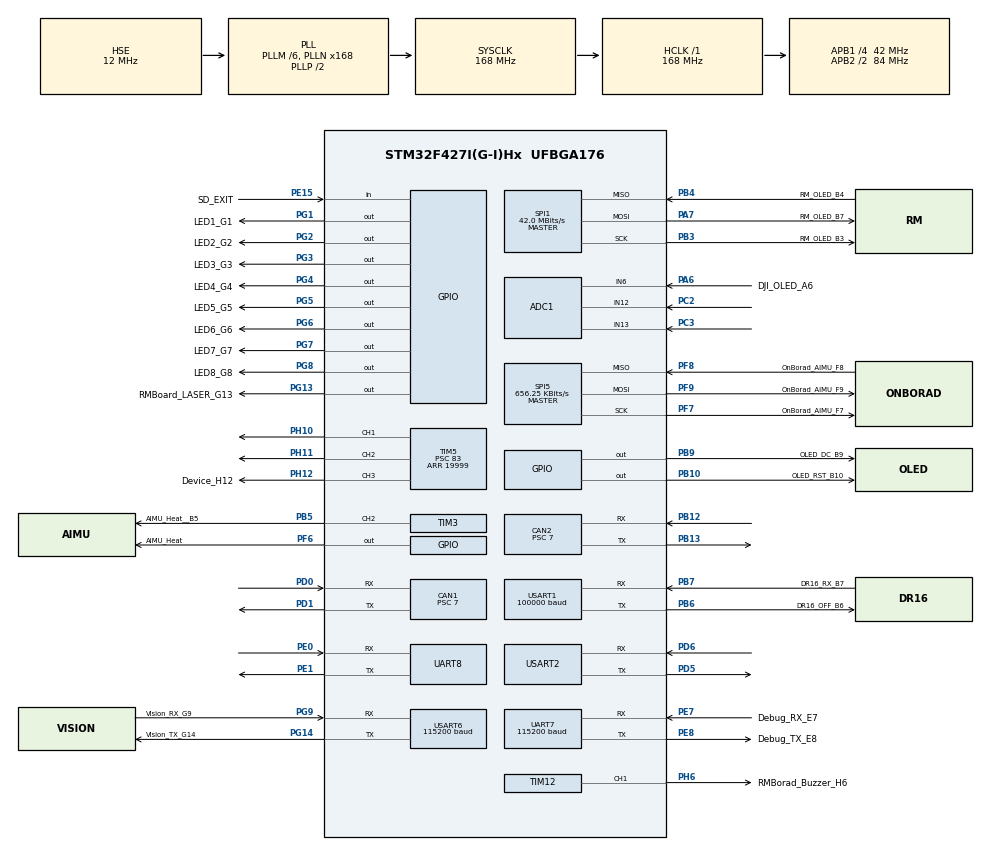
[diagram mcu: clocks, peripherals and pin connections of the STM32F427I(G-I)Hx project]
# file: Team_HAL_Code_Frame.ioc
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ADC1.Channel-0\#ChannelRegularConversion=ADC_CHANNEL_VREFINT
ADC1.Channel-1\#ChannelRegularConversion=ADC_CHANNEL_12
ADC1.Channel-2\#ChannelRegularConversion=ADC_CHANNEL_13
ADC1.ClockPrescaler=ADC_CLOCK_SYNC_PCLK_DIV4
ADC1.ContinuousConvMode=ENABLE
ADC1.DMAContinuousRequests=ENABLE
ADC1.NbrOfConversion=3
ADC1.NbrOfConversionFlag=1
ADC1.Rank-0\#ChannelRegularConversion=1
ADC1.Rank-1\#ChannelRegularConversion=2
ADC1.Rank-2\#ChannelRegularConversion=3
ADC1.SamplingTime-0\#ChannelRegularConversion=ADC_SAMPLETIME_3CYCLES
ADC1.SamplingTime-1\#ChannelRegularConversion=ADC_SAMPLETIME_3CYCLES
ADC1.SamplingTime-2\#ChannelRegularConversion=ADC_SAMPLETIME_3CYCLES
ADC1.ScanConvMode=ENABLE
ADC1.master=1
CAN1.ABOM=ENABLE
CAN1.AWUM=ENABLE
CAN1.BS1=CAN_BS1_3TQ
CAN1.BS2=CAN_BS2_2TQ
CAN1.CalculateBaudRate=999999
CAN1.CalculateTimeBit=1000
CAN1.CalculateTimeQuantum=166.66666666666669
CAN1.NART=ENABLE
CAN1.Prescaler=7
CAN1.TXFP=ENABLE
CAN2.ABOM=ENABLE
CAN2.AWUM=ENABLE
CAN2.BS1=CAN_BS1_3TQ
CAN2.BS2=CAN_BS2_2TQ
CAN2.CalculateBaudRate=999999
CAN2.CalculateTimeBit=1000
CAN2.CalculateTimeQuantum=166.66666666666669
CAN2.NART=ENABLE
CAN2.Prescaler=7
CAN2.TXFP=ENABLE
Dma.ADC1.4.Direction=DMA_PERIPH_TO_MEMORY
Dma.ADC1.4.FIFOMode=DMA_FIFOMODE_DISABLE
Dma.ADC1.4.Instance=DMA2_Stream0
Dma.ADC1.4.MemDataAlignment=DMA_MDATAALIGN_HALFWORD
Dma.ADC1.4.MemInc=DMA_MINC_ENABLE
Dma.ADC1.4.Mode=DMA_CIRCULAR
Dma.ADC1.4.PeriphDataAlignment=DMA_PDATAALIGN_HALFWORD
Dma.ADC1.4.PeriphInc=DMA_PINC_DISABLE
Dma.ADC1.4.Priority=DMA_PRIORITY_LOW
Dma.Request0=USART1_RX
Dma.Request1=USART6_RX
Dma.Request2=USART6_TX
Dma.Request3=UART7_RX
Dma.Request4=ADC1
Dma.Request5=UART8_RX
Dma.Request6=UART8_TX
Dma.Request7=UART7_TX
Dma.Request8=USART2_RX
Dma.UART7_RX.3.Direction=DMA_PERIPH_TO_MEMORY
Dma.UART7_RX.3.FIFOMode=DMA_FIFOMODE_DISABLE
Dma.UART7_RX.3.Instance=DMA1_Stream3
Dma.UART7_RX.3.MemDataAlignment=DMA_MDATAALIGN_BYTE
Dma.UART7_RX.3.MemInc=DMA_MINC_ENABLE
Dma.UART7_RX.3.Mode=DMA_NORMAL
Dma.UART7_RX.3.PeriphDataAlignment=DMA_PDATAALIGN_BYTE
Dma.UART7_RX.3.PeriphInc=DMA_PINC_DISABLE
Dma.UART7_RX.3.Priority=DMA_PRIORITY_LOW
Dma.UART7_TX.7.Direction=DMA_MEMORY_TO_PERIPH
Dma.UART7_TX.7.FIFOMode=DMA_FIFOMODE_DISABLE
Dma.UART7_TX.7.Instance=DMA1_Stream1
Dma.UART7_TX.7.MemDataAlignment=DMA_MDATAALIGN_BYTE
Dma.UART7_TX.7.MemInc=DMA_MINC_ENABLE
Dma.UART7_TX.7.Mode=DMA_NORMAL
Dma.UART7_TX.7.PeriphDataAlignment=DMA_PDATAALIGN_BYTE
Dma.UART7_TX.7.PeriphInc=DMA_PINC_DISABLE
Dma.UART7_TX.7.Priority=DMA_PRIORITY_LOW
Dma.UART8_RX.5.Direction=DMA_PERIPH_TO_MEMORY
Dma.UART8_RX.5.FIFOMode=DMA_FIFOMODE_DISABLE
Dma.UART8_RX.5.Instance=DMA1_Stream6
Dma.UART8_RX.5.MemDataAlignment=DMA_MDATAALIGN_BYTE
Dma.UART8_RX.5.MemInc=DMA_MINC_ENABLE
Dma.UART8_RX.5.Mode=DMA_NORMAL
Dma.UART8_RX.5.PeriphDataAlignment=DMA_PDATAALIGN_BYTE
Dma.UART8_RX.5.PeriphInc=DMA_PINC_DISABLE
Dma.UART8_RX.5.Priority=DMA_PRIORITY_LOW
Dma.UART8_TX.6.Direction=DMA_MEMORY_TO_PERIPH
Dma.UART8_TX.6.FIFOMode=DMA_FIFOMODE_DISABLE
Dma.UART8_TX.6.Instance=DMA1_Stream0
Dma.UART8_TX.6.MemDataAlignment=DMA_MDATAALIGN_BYTE
Dma.UART8_TX.6.MemInc=DMA_MINC_ENABLE
Dma.UART8_TX.6.Mode=DMA_NORMAL
Dma.UART8_TX.6.PeriphDataAlignment=DMA_PDATAALIGN_BYTE
Dma.UART8_TX.6.PeriphInc=DMA_PINC_DISABLE
Dma.UART8_TX.6.Priority=DMA_PRIORITY_LOW
Dma.USART1_RX.0.Direction=DMA_PERIPH_TO_MEMORY
Dma.USART1_RX.0.FIFOMode=DMA_FIFOMODE_DISABLE
Dma.USART1_RX.0.Instance=DMA2_Stream5
Dma.USART1_RX.0.MemDataAlignment=DMA_MDATAALIGN_BYTE
Dma.USART1_RX.0.MemInc=DMA_MINC_ENABLE
Dma.USART1_RX.0.Mode=DMA_CIRCULAR
Dma.USART1_RX.0.PeriphDataAlignment=DMA_PDATAALIGN_BYTE
Dma.USART1_RX.0.PeriphInc=DMA_PINC_DISABLE
Dma.USART1_RX.0.Priority=DMA_PRIORITY_LOW
Dma.USART2_RX.8.Direction=DMA_PERIPH_TO_MEMORY
Dma.USART2_RX.8.FIFOMode=DMA_FIFOMODE_DISABLE
Dma.USART2_RX.8.Instance=DMA1_Stream5
Dma.USART2_RX.8.MemDataAlignment=DMA_MDATAALIGN_BYTE
Dma.USART2_RX.8.MemInc=DMA_MINC_ENABLE
Dma.USART2_RX.8.Mode=DMA_NORMAL
Dma.USART2_RX.8.PeriphDataAlignment=DMA_PDATAALIGN_BYTE
Dma.USART2_RX.8.PeriphInc=DMA_PINC_DISABLE
Dma.USART2_RX.8.Priority=DMA_PRIORITY_LOW
Dma.USART6_RX.1.Direction=DMA_PERIPH_TO_MEMORY
Dma.USART6_RX.1.FIFOMode=DMA_FIFOMODE_DISABLE
Dma.USART6_RX.1.Instance=DMA2_Stream1
Dma.USART6_RX.1.MemDataAlignment=DMA_MDATAALIGN_BYTE
Dma.USART6_RX.1.MemInc=DMA_MINC_ENABLE
Dma.USART6_RX.1.Mode=DMA_CIRCULAR
Dma.USART6_RX.1.PeriphDataAlignment=DMA_PDATAALIGN_BYTE
Dma.USART6_RX.1.PeriphInc=DMA_PINC_DISABLE
Dma.USART6_RX.1.Priority=DMA_PRIORITY_LOW
Dma.USART6_TX.2.Direction=DMA_MEMORY_TO_PERIPH
Dma.USART6_TX.2.FIFOMode=DMA_FIFOMODE_DISABLE
Dma.USART6_TX.2.Instance=DMA2_Stream6
Dma.USART6_TX.2.MemDataAlignment=DMA_MDATAALIGN_BYTE
Dma.USART6_TX.2.MemInc=DMA_MINC_ENABLE
Dma.USART6_TX.2.Mode=DMA_NORMAL
Dma.USART6_TX.2.PeriphDataAlignment=DMA_PDATAALIGN_BYTE
Dma.USART6_TX.2.PeriphInc=DMA_PINC_DISABLE
Dma.USART6_TX.2.Priority=DMA_PRIORITY_LOW
FREERTOS.INCLUDE_vTaskDelayUntil=1
FREERTOS.Tasks01=Activate_Task,0,128,User_SystemInit_Task,Default,NULL,Dynamic,NULL,NULL
IWDG.Prescaler=IWDG_PRESCALER_8
Mcu.Family=STM32F4
Mcu.Name=STM32F427I(G-I)Hx
Mcu.Package=UFBGA176
NVIC.CAN1_RX0_IRQn=true\:6\:0\:true\:false\:true\:false\:true\:true\:true
NVIC.CAN2_RX0_IRQn=true\:6\:0\:true\:false\:true\:false\:true\:true\:true
NVIC.DMA1_Stream0_IRQn=true\:5\:0\:false\:false\:true\:true\:false\:true\:true
NVIC.DMA1_Stream1_IRQn=true\:5\:0\:false\:false\:true\:true\:false\:true\:true
NVIC.DMA1_Stream3_IRQn=true\:5\:0\:false\:false\:true\:true\:false\:true\:true
NVIC.DMA1_Stream5_IRQn=true\:5\:0\:false\:false\:true\:true\:false\:true\:true
NVIC.DMA1_Stream6_IRQn=true\:5\:0\:false\:false\:true\:true\:false\:true\:true
NVIC.DMA2_Stream0_IRQn=true\:5\:0\:false\:false\:true\:true\:false\:true\:true
NVIC.DMA2_Stream1_IRQn=true\:5\:0\:false\:false\:true\:true\:false\:true\:true
NVIC.DMA2_Stream5_IRQn=true\:5\:0\:false\:false\:true\:false\:false\:true\:true
NVIC.DMA2_Stream6_IRQn=true\:5\:0\:false\:false\:true\:true\:false\:true\:true
NVIC.PriorityGroup=NVIC_PRIORITYGROUP_4
NVIC.TIM2_IRQn=true\:5\:0\:false\:false\:true\:true\:true\:true\:true
NVIC.TIM4_IRQn=true\:5\:0\:false\:false\:true\:true\:true\:true\:true
NVIC.TIM6_DAC_IRQn=true\:0\:0\:true\:false\:true\:false\:false\:true\:true
NVIC.TimeBase=TIM6_DAC_IRQn
NVIC.TimeBaseIP=TIM6
NVIC.UART7_IRQn=true\:5\:0\:false\:false\:true\:true\:true\:true\:true
NVIC.UART8_IRQn=true\:5\:0\:false\:false\:true\:true\:true\:true\:true
NVIC.USART1_IRQn=true\:5\:0\:false\:false\:true\:false\:true\:true\:true
NVIC.USART6_IRQn=true\:5\:0\:false\:false\:true\:true\:true\:true\:true
PA13.Mode=Serial_Wire
PA13.Signal=SYS_JTMS-SWDIO
PA14.Mode=Serial_Wire
PA14.Signal=SYS_JTCK-SWCLK
PA6.GPIO_Label=DJI_OLED_A6
PA6.Signal=ADCx_IN6
PA7.GPIO_Label=RM_OLED_B7
PA7.Mode=Full_Duplex_Master
PA7.Signal=SPI1_MOSI
PB10.GPIO_Label=OLED_RST_B10
PB10.Signal=GPIO_Output
PB12.Mode=CAN_Activate
PB12.Signal=CAN2_RX
PB13.Mode=CAN_Activate
PB13.Signal=CAN2_TX
PB3.GPIO_Label=RM_OLED_B3
PB3.Mode=Full_Duplex_Master
PB3.Signal=SPI1_SCK
PB4.GPIO_Label=RM_OLED_B4
PB4.Mode=Full_Duplex_Master
PB4.Signal=SPI1_MISO
PB5.GPIO_Label=AIMU_Heat__B5
PB5.Signal=S_TIM3_CH2
PB6.GPIO_Label=DR16_OFF_B6
PB6.GPIO_PuPd=GPIO_NOPULL
PB6.Mode=Asynchronous
PB6.Signal=USART1_TX
PB7.GPIO_Label=DR16_RX_B7
PB7.GPIO_PuPd=GPIO_NOPULL
PB7.Mode=Asynchronous
PB7.Signal=USART1_RX
PB9.GPIO_Label=OLED_DC_B9
PB9.Signal=GPIO_Output
PC2.Signal=ADCx_IN12
PC3.Signal=ADCx_IN13
PD0.Mode=CAN_Activate
PD0.Signal=CAN1_RX
PD1.Mode=CAN_Activate
PD1.Signal=CAN1_TX
PD5.Mode=Asynchronous
PD5.Signal=USART2_TX
PD6.Mode=Asynchronous
PD6.Signal=USART2_RX
PD8.GPIO_Label=RM_Referee_TX_D8
PD8.Signal=USART3_TX
PD9.GPIO_Label=RM_Referee_RX_D9
PD9.Signal=USART3_RX
PE0.Mode=Asynchronous
PE0.Signal=UART8_RX
PE1.Mode=Asynchronous
PE1.Signal=UART8_TX
PE15.GPIO_Label=SD_EXIT
PE15.GPIO_PuPd=GPIO_NOPULL
PE15.Signal=GPIO_Input
PE7.GPIO_Label=Debug_RX_E7
PE7.Mode=Asynchronous
PE7.Signal=UART7_RX
PE8.GPIO_Label=Debug_TX_E8
PE8.Mode=Asynchronous
PE8.Signal=UART7_TX
PF6.GPIO_Label=AIMU_Heat
PF6.PinState=GPIO_PIN_SET
PF6.Signal=GPIO_Output
PF7.GPIO_Label=OnBorad_AIMU_F7
PF7.Mode=Full_Duplex_Master
PF7.Signal=SPI5_SCK
PF8.GPIO_Label=OnBorad_AIMU_F8
PF8.Mode=Full_Duplex_Master
PF8.Signal=SPI5_MISO
PF9.GPIO_Label=OnBorad_AIMU_F9
PF9.Mode=Full_Duplex_Master
PF9.Signal=SPI5_MOSI
PG1.GPIO_Label=LED1_G1
PG1.GPIO_PuPd=GPIO_PULLUP
PG1.PinState=GPIO_PIN_SET
PG1.Signal=GPIO_Output
PG13.GPIO_Label=RMBoard_LASER_G13
PG13.Signal=GPIO_Output
PG14.GPIO_Label=Vision_TX_G14
PG14.Mode=Asynchronous
PG14.Signal=USART6_TX
PG2.GPIO_Label=LED2_G2
PG2.GPIO_PuPd=GPIO_PULLUP
PG2.PinState=GPIO_PIN_SET
PG2.Signal=GPIO_Output
PG3.GPIO_Label=LED3_G3
PG3.GPIO_PuPd=GPIO_PULLUP
PG3.PinState=GPIO_PIN_SET
PG3.Signal=GPIO_Output
PG4.GPIO_Label=LED4_G4
PG4.GPIO_PuPd=GPIO_PULLUP
PG4.PinState=GPIO_PIN_SET
PG4.Signal=GPIO_Output
PG5.GPIO_Label=LED5_G5
PG5.GPIO_PuPd=GPIO_PULLUP
PG5.PinState=GPIO_PIN_SET
PG5.Signal=GPIO_Output
PG6.GPIO_Label=LED6_G6
PG6.GPIO_PuPd=GPIO_PULLUP
PG6.PinState=GPIO_PIN_SET
PG6.Signal=GPIO_Output
PG7.GPIO_Label=LED7_G7
PG7.GPIO_PuPd=GPIO_PULLUP
PG7.PinState=GPIO_PIN_SET
PG7.Signal=GPIO_Output
PG8.GPIO_Label=LED8_G8
PG8.GPIO_PuPd=GPIO_PULLUP
PG8.PinState=GPIO_PIN_SET
PG8.Signal=GPIO_Output
PG9.GPIO_Label=Vision_RX_G9
PG9.Mode=Asynchronous
PG9.Signal=USART6_RX
PH0/OSC_IN.Mode=HSE-External-Oscillator
PH0/OSC_IN.Signal=RCC_OSC_IN
PH1/OSC_OUT.Mode=HSE-External-Oscillator
PH1/OSC_OUT.Signal=RCC_OSC_OUT
PH10.Signal=S_TIM5_CH1
PH11.Signal=S_TIM5_CH2
PH12.GPIO_Label=Device_H12
PH12.Signal=S_TIM5_CH3
PH6.GPIO_Label=RMBorad_Buzzer_H6
PH6.Signal=S_TIM12_CH1
ProjectManager.HeapSize=0x200
ProjectManager.StackSize=0x1000
ProjectManager.TargetToolchain=MDK-ARM V5.32
RCC.48MHZClocksFreq_Value=48000000
RCC.AHBFreq_Value=168000000
RCC.APB1CLKDivider=RCC_HCLK_DIV4
RCC.APB1Freq_Value=42000000
RCC.APB1TimFreq_Value=84000000
RCC.APB2CLKDivider=RCC_HCLK_DIV2
RCC.APB2Freq_Value=84000000
RCC.APB2TimFreq_Value=168000000
RCC.CortexFreq_Value=168000000
RCC.HCLKFreq_Value=168000000
RCC.HSE_VALUE=12000000
RCC.HSI_VALUE=16000000
RCC.LSE_VALUE=32768
RCC.PLLM=6
RCC.PLLN=168
RCC.PLLQ=7
RCC.PLLSourceVirtual=RCC_PLLSOURCE_HSE
RCC.SYSCLKFreq_VALUE=168000000
RCC.SYSCLKSource=RCC_SYSCLKSOURCE_PLLCLK
RCC.VCOOutputFreq_Value=336000000
RTC.Date=16
RTC.Format=RTC_FORMAT_BIN
RTC.HourFormat=RTC_HOURFORMAT_24
RTC.Hours=0
RTC.Month=RTC_MONTH_JUNE
RTC.WeekDay=RTC_WEEKDAY_THURSDAY
RTC.Year=52
SH.ADCx_IN12.0=ADC1_IN12,IN12
SH.ADCx_IN13.0=ADC1_IN13,IN13
SH.ADCx_IN6.0=ADC1_IN6,IN6
SH.S_TIM12_CH1.0=TIM12_CH1,PWM Generation1 CH1
SH.S_TIM3_CH2.0=TIM3_CH2,PWM Generation2 CH2
SH.S_TIM5_CH1.0=TIM5_CH1,PWM Generation1 CH1
SH.S_TIM5_CH2.0=TIM5_CH2,PWM Generation2 CH2
SH.S_TIM5_CH3.0=TIM5_CH3,PWM Generation3 CH3
SPI1.BaudRatePrescaler=SPI_BAUDRATEPRESCALER_2
SPI1.CalculateBaudRate=42.0 MBits/s
SPI1.Direction=SPI_DIRECTION_2LINES
SPI1.Mode=SPI_MODE_MASTER
SPI1.VirtualType=VM_MASTER
SPI5.BaudRatePrescaler=SPI_BAUDRATEPRESCALER_128
SPI5.CalculateBaudRate=656.25 KBits/s
SPI5.Direction=SPI_DIRECTION_2LINES
SPI5.Mode=SPI_MODE_MASTER
SPI5.VirtualType=VM_MASTER
TIM12.Channel-PWM\ Generation1\ CH1=TIM_CHANNEL_1
TIM12.Period=2499
TIM12.Prescaler=83
TIM12.Pulse-PWM\ Generation1\ CH1=1000
TIM2.Period=49
TIM2.Prescaler=83
TIM3.Channel-PWM\ Generation2\ CH2=TIM_CHANNEL_2
TIM3.Period=4999
TIM4.Prescaler=83
TIM5.Channel-PWM\ Generation1\ CH1=TIM_CHANNEL_1
TIM5.Channel-PWM\ Generation2\ CH2=TIM_CHANNEL_2
TIM5.Channel-PWM\ Generation3\ CH3=TIM_CHANNEL_3
TIM5.Period=19999
TIM5.Prescaler=83
TIM5.Pulse-PWM\ Generation1\ CH1=1000
TIM5.Pulse-PWM\ Generation2\ CH2=1000
TIM5.Pulse-PWM\ Generation3\ CH3=1720
UART7.BaudRate=115200
UART7.VirtualMode=Asynchronous
UART8.VirtualMode=Asynchronous
USART1.BaudRate=100000
USART1.VirtualMode=VM_ASYNC
USART1.WordLength=WORDLENGTH_9B
USART2.VirtualMode=VM_ASYNC
USART6.BaudRate=115200
USART6.VirtualMode=VM_ASYNC
VP_ADC1_Vref_Input.Mode=IN-Vrefint
VP_FREERTOS_VS_CMSIS_V1.Mode=CMSIS_V1
VP_IWDG_VS_IWDG.Mode=IWDG_Activate
VP_RNG_VS_RNG.Mode=RNG_Activate
VP_RTC_VS_RTC_Activate.Mode=RTC_Enabled
VP_RTC_VS_RTC_Calendar.Mode=RTC_Calendar
VP_SYS_VS_tim6.Mode=TIM6
VP_TIM12_VS_ClockSourceINT.Mode=Internal
VP_TIM2_VS_ClockSourceINT.Mode=Internal
VP_TIM3_VS_ClockSourceINT.Mode=Internal
VP_TIM4_VS_ClockSourceINT.Mode=Internal
VP_TIM5_VS_ClockSourceINT.Mode=Internal
VP_TIM9_VS_ClockSourceINT.Mode=Internal
board=custom

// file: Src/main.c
/* USER CODE BEGIN Header */
/**
  ******************************************************************************
  * @file           : main.c
  * @brief          : Main program body
  ******************************************************************************
  * @attention
  *
  * Copyright (c) 2021 STMicroelectronics.
  * All rights reserved.
  *
  * This software is licensed under terms that can be found in the LICENSE file
  * in the root directory of this software component.
  * If no LICENSE file comes with this software, it is provided AS-IS.
  *
  ******************************************************************************
  */
/* USER CODE END Header */
#include "main.h"
#include "cmsis_os.h"
#include "adc.h"
#include "can.h"
#include "dma.h"
#include "iwdg.h"
#include "rng.h"
#include "rtc.h"
#include "spi.h"
#include "tim.h"
#include "usart.h"
#include "gpio.h"

/* USER CODE BEGIN Includes */
#include "System_Config.h"
#include "DEV_AIMU.h"
#include "BSP_FLASH.h"
#include "BSP_FlashStore.h"
#include "BSP_FLASH.h"
#include "DEV_Timer.h"

/* USER CODE END Includes */

void SystemClock_Config(void);
void MX_FREERTOS_Init(void);

/* USER CODE BEGIN 0 */
//static uint8_t buffer[_MAX_SS];                       /* a work buffer for the f_mkfs() */
/* USER CODE END 0 */

int main(void)
{

  /* MCU Configuration--------------------------------------------------------*/

  /* Reset of all peripherals, Initializes the Flash interface and the Systick. */
  HAL_Init();

  /* Configure the system clock */
  SystemClock_Config();

  /* Initialize all configured peripherals */
  MX_GPIO_Init();
  MX_DMA_Init();
  MX_ADC1_Init();
  MX_CAN1_Init();
  MX_CAN2_Init();
//  MX_IWDG_Init();
  MX_SPI1_Init();
  MX_SPI5_Init();
  MX_TIM3_Init();
  MX_TIM5_Init();
  MX_TIM12_Init();
  MX_UART7_Init();
  MX_USART1_UART_Init();
  MX_RNG_Init();
  MX_USART6_UART_Init();
  MX_TIM4_Init();
  MX_TIM9_Init();
  MX_TIM2_Init();
  MX_USART2_UART_Init();
  MX_RTC_Init();
  MX_UART8_Init();
  /* USER CODE BEGIN 2 */
	MX_GPIO_Init_USER();
	User_System_Init();

  /* USER CODE END 2 */

  /* Call init function for freertos objects (in freertos.c) */
  MX_FREERTOS_Init();

  /* Start scheduler */
  osKernelStart();
  /* We should never get here as control is now taken by the scheduler */
  /* Infinite loop */
  while (1)
  {

  }
}

void SystemClock_Config(void)
{
  RCC_OscInitTypeDef RCC_OscInitStruct = {0};
  RCC_ClkInitTypeDef RCC_ClkInitStruct = {0};

  /** Configure the main internal regulator output voltage
  */
  __HAL_RCC_PWR_CLK_ENABLE();
  __HAL_PWR_VOLTAGESCALING_CONFIG(PWR_REGULATOR_VOLTAGE_SCALE1);

  /** Initializes the RCC Oscillators according to the specified parameters
  * in the RCC_OscInitTypeDef structure.
  */
  RCC_OscInitStruct.OscillatorType = RCC_OSCILLATORTYPE_LSI|RCC_OSCILLATORTYPE_HSE;
  RCC_OscInitStruct.HSEState = RCC_HSE_ON;
  RCC_OscInitStruct.LSIState = RCC_LSI_ON;
  RCC_OscInitStruct.PLL.PLLState = RCC_PLL_ON;
  RCC_OscInitStruct.PLL.PLLSource = RCC_PLLSOURCE_HSE;
  RCC_OscInitStruct.PLL.PLLM = 6;
  RCC_OscInitStruct.PLL.PLLN = 168;
  RCC_OscInitStruct.PLL.PLLP = RCC_PLLP_DIV2;
  RCC_OscInitStruct.PLL.PLLQ = 7;
  if (HAL_RCC_OscConfig(&RCC_OscInitStruct) != HAL_OK)
  {
    Error_Handler();
  }

  /** Initializes the CPU, AHB and APB buses clocks
  */
  RCC_ClkInitStruct.ClockType = RCC_CLOCKTYPE_HCLK|RCC_CLOCKTYPE_SYSCLK
                              |RCC_CLOCKTYPE_PCLK1|RCC_CLOCKTYPE_PCLK2;
  RCC_ClkInitStruct.SYSCLKSource = RCC_SYSCLKSOURCE_PLLCLK;
  RCC_ClkInitStruct.AHBCLKDivider = RCC_SYSCLK_DIV1;
  RCC_ClkInitStruct.APB1CLKDivider = RCC_HCLK_DIV4;
  RCC_ClkInitStruct.APB2CLKDivider = RCC_HCLK_DIV2;

  if (HAL_RCC_ClockConfig(&RCC_ClkInitStruct, FLASH_LATENCY_5) != HAL_OK)
  {
    Error_Handler();
  }
}

void HAL_TIM_PeriodElapsedCallback(TIM_HandleTypeDef *htim)
{
  /* USER CODE BEGIN Callback 0 */
	if (htim->Instance == TIM4) {
    Update_SystemTick();
  }
  /* USER CODE END Callback 0 */
  if (htim->Instance == TIM6) {
    HAL_IncTick();
  }
}

void Error_Handler(void)
{
  __disable_irq();
  while (1)
  {
  }
}

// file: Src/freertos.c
/* USER CODE BEGIN Header */
/**
  ******************************************************************************
  * File Name          : freertos.c
  * Description        : Code for freertos applications
  ******************************************************************************
  * @attention
  *
  * <h2><center>&copy; Copyright (c) 2021 STMicroelectronics.
  * All rights reserved.</center></h2>
  *
  * This software component is licensed by ST under Ultimate Liberty license
  * SLA0044, the "License"; You may not use this file except in compliance with
  * the License. You may obtain a copy of the License at:
  *                             www.st.com/SLA0044
  *
  ******************************************************************************
  */
/* USER CODE END Header */

#include "FreeRTOS.h"
#include "task.h"
#include "main.h"
#include "cmsis_os.h"

/* USER CODE BEGIN Includes */
// #include "System_DataPool.h"
#include "System_Config.h"
#include "DEV_AIMU.h"
#include "BSP_FLASH.h"
#include "BSP_FlashStore.h"
/* USER CODE END Includes */

osThreadId Activate_TaskHandle;

void User_SystemInit_Task(void const * argument);

void MX_FREERTOS_Init(void); /* (MISRA C 2004 rule 8.1) */

/* GetIdleTaskMemory prototype (linked to static allocation support) */
void vApplicationGetIdleTaskMemory( StaticTask_t **ppxIdleTaskTCBBuffer, StackType_t **ppxIdleTaskStackBuffer, uint32_t *pulIdleTaskStackSize );

/* USER CODE BEGIN GET_IDLE_TASK_MEMORY */
static StaticTask_t xIdleTaskTCBBuffer;
static StackType_t xIdleStack[configMINIMAL_STACK_SIZE];

void vApplicationGetIdleTaskMemory( StaticTask_t **ppxIdleTaskTCBBuffer, StackType_t **ppxIdleTaskStackBuffer, uint32_t *pulIdleTaskStackSize )
{
  *ppxIdleTaskTCBBuffer = &xIdleTaskTCBBuffer;
  *ppxIdleTaskStackBuffer = &xIdleStack[0];
  *pulIdleTaskStackSize = configMINIMAL_STACK_SIZE;
  /* place for user code */
}
/* USER CODE END GET_IDLE_TASK_MEMORY */

void MX_FREERTOS_Init(void) {

  /* Create the thread(s) */
  /* definition and creation of Activate_Task */
  osThreadDef(Activate_Task, User_SystemInit_Task, osPriorityNormal, 0, 128);
  Activate_TaskHandle = osThreadCreate(osThread(Activate_Task), NULL);

  /* USER CODE BEGIN RTOS_THREADS */
  /* add threads, ... */
 #if AIMU_Calibrate == Calibrate_On
   // flash_write_single_address(STM32_FLASH_BASE, IMUwriteFlashData, 6);
//   DJI_IMUWriteOffset(IMUwriteFlashData,6);
 #endif
  /* USER CODE END RTOS_THREADS */

}

void User_SystemInit_Task(void const * argument)
{
  /* USER CODE BEGIN User_SystemInit_Task */
  /* Infinite loop */
  for(;;)
  {
    System_Tasks_Init();

    osThreadTerminate(Activate_TaskHandle);
  }
  /* USER CODE END User_SystemInit_Task */
}
